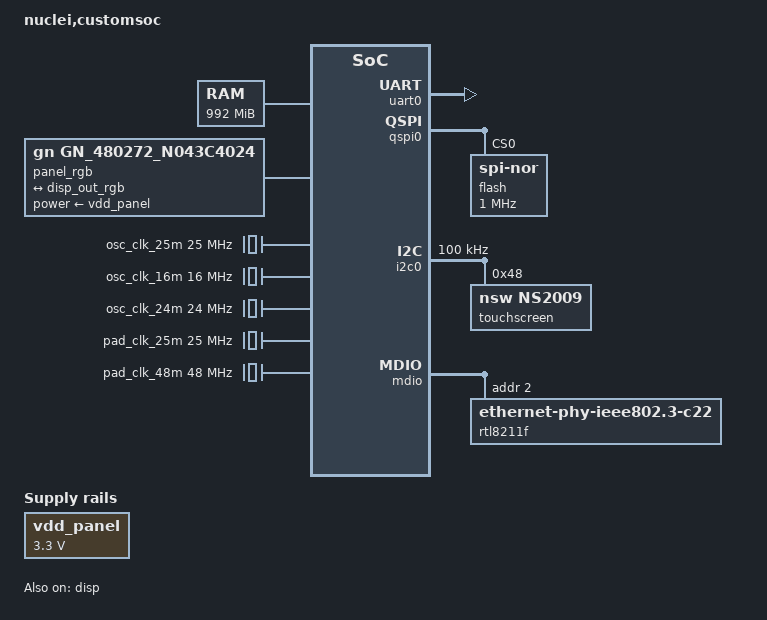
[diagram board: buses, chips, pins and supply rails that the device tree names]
/dts-v1/;

#ifndef TIMERCLK_FREQ
#define TIMERCLK_FREQ       32768
#endif
#ifndef CPUCLK_FREQ
#define CPUCLK_FREQ         50000000
#endif
#ifndef PERIPHCLK_FREQ
#define PERIPHCLK_FREQ      CPUCLK_FREQ
#endif
#ifndef SIMULATION
#define SIMULATION          0
#endif

/ {
  #address-cells = <2>;
  #size-cells = <2>;
  compatible = "nuclei,customsoc";
  model = "nuclei,customsoc";
  dma-noncoherent;
  chosen {
      bootargs = "earlycon=sbi console=ttyNUC0 clk_ignore_unused";
      stdout-path = "serial0";
  };

  aliases {
    serial0 = &uart0;
  };

  cpus {
    #address-cells = <1>;
    #size-cells = <0>;
    timebase-frequency = <TIMERCLK_FREQ>;
    cpu0: cpu@0 {
      device_type = "cpu";
      reg = <0>;
      status = "okay";
      compatible = "riscv";

      riscv,isa = "rv64imac_zicbom_svpbmt";
      riscv,cbom-block-size =<64>;
      mmu-type = "riscv,sv39";
      clock-frequency = <CPUCLK_FREQ>;
      cpu0_intc: interrupt-controller {
        #interrupt-cells = <1>;
        interrupt-controller;
        compatible = "riscv,cpu-intc";
      };
    };
  };

  memory@0 {
    device_type = "memory";
    reg = <0x0 0x00000000 0x0 0x3E000000>;
  };

  soc {
    #address-cells = <2>;
    #size-cells = <2>;
    compatible = "nuclei,customsoc", "simple-bus";
    ranges;
  };

  /* Used for Uboot SBI Console */
  console {
    compatible = "sbi,console";
  };

  hfclk: hfclk {
    #clock-cells = <0>;
    compatible = "fixed-clock";
    clock-frequency = <PERIPHCLK_FREQ>;
    clock-output-names = "hfclk";
  };
  
  plic0: interrupt-controller@f84000000 {
    #interrupt-cells = <1>;
    compatible = "riscv,plic0";
    interrupt-controller;
    riscv,ndev = <31>;
    interrupts-extended =
          <&cpu0_intc 11 &cpu0_intc 9>;
    reg = <0xf 0x84000000 0x0 0x4000000>;
  };

  clint0: clint@f80031000 {
    #interrupt-cells = <1>;
    compatible = "riscv,clint0";
    reg = <0xf 0x80031000 0x0 0x10000>;
    interrupts-extended =
          <&cpu0_intc 3 &cpu0_intc 7>;
    clocks = <&hfclk>;
  };

  uart0: serial@f8b110000 {
    compatible = "nuclei,uart0";
    reg = <0xf 0x8b110000 0x0 0x1000>;
    interrupt-parent = <&plic0>;
    interrupts = <3>;
    clocks = <&hfclk>;
    clock-frequency = <PERIPHCLK_FREQ>;
    status = "okay";
  };

#if SIMULATION == 0
  qspi0: spi@f8b120000 {
    compatible = "nuclei,spi0";
    reg = <0xf 0x8b120000 0x0 0x1000>;
    interrupt-parent = <&plic0>;
    interrupts = <4>;
    num-cs = <1>;
    #address-cells = <1>;
    #size-cells = <0>;
    clocks = <&hfclk>;
    status = "okay";

    flash@0 {
      compatible = "jedec,spi-nor";
      reg = <0>;
      spi-max-frequency = <1000000>;
      m25p,fast-read;
      spi-tx-bus-width = <1>;
      spi-rx-bus-width = <1>;
    };
  };

  qspi2: spi@f8b122000 {
    compatible = "nuclei,spi0";
    reg = <0xf 0x8b122000 0x0 0x1000>;
    interrupt-parent = <&plic0>;
    interrupts = <6>;
    num-cs = <1>;
    #address-cells = <1>;
    #size-cells = <0>;
    clocks = <&hfclk>;
    status = "disabled";

    mmc@0 {
      compatible = "mmc-spi-slot";
      reg = <0>;
      spi-max-frequency = <1000000>;
      voltage-ranges = <3300 3300>;
      disable-wp;
      spi-tx-bus-width = <1>;
      spi-rx-bus-width = <1>;
    };
  };
#endif

  vdd_panel: vdd-panel {
      compatible = "regulator-fixed";
      regulator-name = "vdd_panel";
      regulator-min-microvolt = <3300000>;
      regulator-max-microvolt = <3300000>;
  };


  panel_rgb: panel-rgb {
      compatible = "gn,gn_480272_n043c4024";
      power-supply = <&vdd_panel>;
      status = "okay";
      port {
          panel_in_rgb: endpoint {
              remote-endpoint = <&disp_out_rgb>;
          };
      };
  };


  disp: display-controller@f8b250000 {
    compatible = "nuclei,nuclei-display";
    reg = <0xf 0x8b250000 0x0 0x1000>;
    interrupt-parent = <&plic0>;
    interrupts = <22>;
//  resets = <&rcc STM32F4_APB2_RESET(LTDC)>;
    //clocks = <&hfclk>;
    clocks = <&clkc 4>, <&clkc 5>;
    clock-names = "disp_bus_clk", "disp_pix_clk";
    status = "okay";
    /*pinctrl-0 = <&disp_pins_a>;
    pinctrl-names = "default";*/
    port {
        disp_out_rgb: endpoint {
            remote-endpoint = <&panel_in_rgb>;
        };
    };
  };

  i2c0: i2c@f8b260000 {
    compatible = "nuclei,i2c";
    interrupt-parent = <&plic0>;
    interrupts = <23>;
    reg = <0xf 0x8b260000 0x0 0x1000>;
    clocks = <&clkc 18>;
    /* resets = */
    /* pinctrl info TBD */
    status = "okay";
    clock-frequency = <100000>;

    touchscreen {
        compatible = "nsw,ns2009";
        reg = <0x48>;
        /*pinctrl-names = "default";
        pinctrl-0 = <&pinctrl_tsc2007>;
        interrupt-parent = <&gpio3>;
        interrupts = <26 IRQ_TYPE_NONE>;
        gpios = <&gpio3 26 GPIO_ACTIVE_LOW>;
        ti,x-plate-ohms = <660>;
        wakeup-source;*/
    };
  };

  osc_clk_25m: osc_clk_25m {
    #clock-cells = <0>;
    compatible = "fixed-clock";
    clock-frequency = <25000000>;
  };
  
  osc_clk_16m: osc_clk_16m {
    #clock-cells = <0>;
    compatible = "fixed-clock";
    clock-frequency = <16000000>;
  };
  
  osc_clk_24m: osc_clk_24m {
    #clock-cells = <0>;
    compatible = "fixed-clock";
    clock-frequency = <24000000>;
  };
  
  pad_clk_25m: pad_clk_25m {
    #clock-cells = <0>;
    compatible = "fixed-clock";
    clock-frequency = <25000000>;
  };
  
  pad_clk_48m: pad_clk_48m {
    #clock-cells = <0>;
    compatible = "fixed-clock";
    clock-frequency = <48000000>;
  };

  clkc: clkc@f8b300000 {
    #clock-cells = <1>;
    compatible = "nuclei,clkc";
    reg = <0xf 0x8b300000 0x0 0x1000>;
    clocks = <&osc_clk_16m>, <&osc_clk_25m>, <&osc_clk_24m>;
  };
  
  udma0: dma@f8b100000 {
    compatible = "nuclei,dmac";
    #dma-cells = <3>;
    reg = <0xf 0x8b100000 0x0 0x1000>;
    interrupt-parent = <&plic0>;
    interrupts = <2>;
    clocks = <&clkc 20>;
  };

  xec0: xec@f8b160000 {
    compatible = "nuclei,xec";
    reg = <0xf 0x8b160000 0x0 0x1000>;
    interrupt-parent = <&plic0>;
    interrupts = <13>;
    clocks = <&clkc 2>, <&clkc 23>;
    local-mac-address = [00 2b 20 21 03 23];
    phy-handle = <&rtl8211f>;
    phy-mode = "rgmii";

    mdio {
        compatible = "snps,dwmac-mdio";
        #address-cells = <1>;
        #size-cells = <0>;

        rtl8211f: ethernet-phy@2 {
            compatible = "ethernet-phy-ieee802.3-c22";
            reg = <2>;
        };
    };
  };
};
